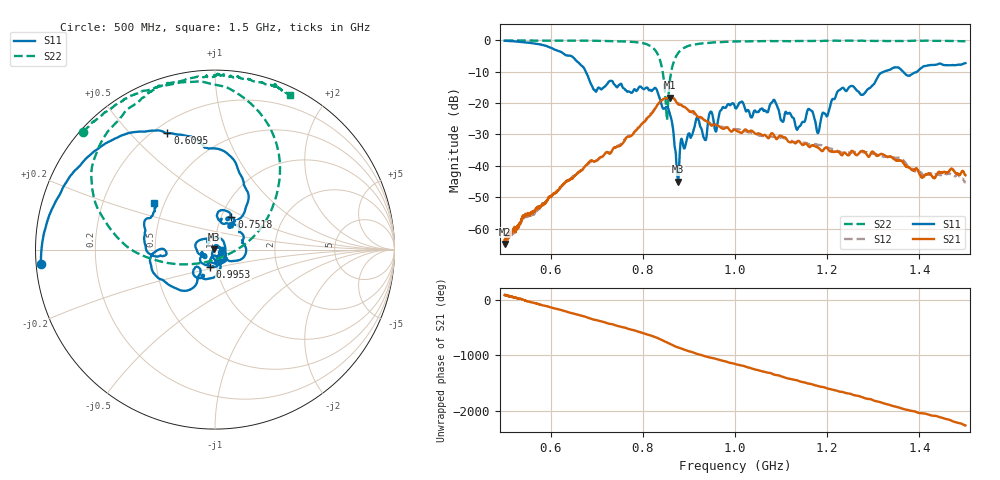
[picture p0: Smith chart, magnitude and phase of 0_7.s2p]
!Agilent Technologies,E8364B,US42250235,A.06.04.32
!Agilent E8364B: A.06.04.32
!Date: Thursday, October 01, 2020 14:13:29
!Correction: S11(Full 2 Port(1,2)) S21(Full 2 Port(1,2)) S12(Full 2 Port(1,2)) S22(Full 2 Port(1,2))
!S2P File: Measurements: S11, S21, S12, S22:
# Hz S  dB  R 50
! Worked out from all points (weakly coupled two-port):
!   2650 points, 500 MHz to 1.5 GHz, reference 50 ohm
!   highest |S21| = -18.30 dB at 859.4 MHz (marker M1); lowest = -64.8 dB at 500.4 MHz (marker M2)
!   lowest |S11| = -45.1 dB at 876.7 MHz (marker M3), VSWR 1.01, Z = 49.4 + j0.0558 ohm
!   |S11| at or under -10 dB: 675.8 MHz to 1.324 GHz (648.5 MHz wide, 64.8 % of centre); 1.365 GHz to 1.396 GHz (30.99 MHz wide, 2.25 % of centre)
!   |S22| runs from -25.5 to -0.1 dB; largest |S21 - S12| = 0.014
!   S11 on the Smith chart (normalised r, x): 500 MHz: 0.01, -0.04; 609.5 MHz: 0.25, +0.64; 751.8 MHz: 1.12, +0.42; 995.3 MHz: 0.93, -0.18; 1.5 GHz: 0.44, +0.28
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5e8  -0.23 -175.4  -63.54 89.6  -65.49 82.0  -0.15 138.4
5.003775e8  -0.23 -175.5  -64.77 98.9  -65.10 83.6  -0.15 138.3
6.094753e8  -3.10 112.3  -48.75 -153.7  -48.57 -154.7  -0.20 125.1
6.668554e8  -8.12 65.5  -41.35 77.1  -41.51 73.2  -0.20 120.5
6.95923e8  -15.93 67.5  -38.56 3.5  -38.53 1.1  -0.23 117.3
7.517931e8  -13.89 63.0  -33.48 -120.5  -33.07 -123.5  -0.43 103.8
8.337108e8  -17.36 -27.0  -20.19 27.9  -20.33 20.9  -4.97 50.1
8.510759e8  -21.21 -44.6  -18.54 -40.8  -18.50 -45.8  -23.46 -30.0
8.593809e8  -23.84 -81.2  -18.30 -72.6  -18.16 -78.3  -12.05 -161.7
8.767459e8  -45.05 174.2  -20.48 -136.4  -20.03 -142.5  -4.11 166.3
9.171385e8  -24.74 -7.1  -24.06 109.0  -24.31 104.6  -1.28 138.6
9.345036e8  -31.67 -30.0  -25.50 68.6  -25.54 63.9  -1.01 131.1
9.465836e8  -22.83 -36.7  -26.93 40.2  -26.51 36.6  -0.88 125.6
9.952812e8  -20.07 -106.1  -28.80 -59.9  -28.31 -69.3  -0.48 113.3
1.000189e9  -21.41 -117.8  -28.48 -73.2  -28.26 -80.4  -0.45 112.9
1.084371e9  -18.97 165.7  -30.14 95.8  -30.71 93.0  -0.35 107.5
1.136467e9  -28.06 -28.8  -32.07 -13.1  -32.20 -20.4  -0.31 98.6
1.166667e9  -22.54 -102.4  -33.45 -78.6  -33.09 -84.1  -0.30 93.0
1.180634e9  -29.46 -90.6  -34.20 -113.2  -33.33 -116.4  -0.34 92.3
1.227067e9  -15.87 -98.3  -35.85 148.3  -35.48 142.7  -0.23 89.0
1.333522e9  -9.54 -147.9  -37.09 -86.6  -37.08 -86.7  -0.29 79.0
1.5e9  -7.34 142.5  -42.97 -102.3  -45.16 -96.3  -0.38 64.1
